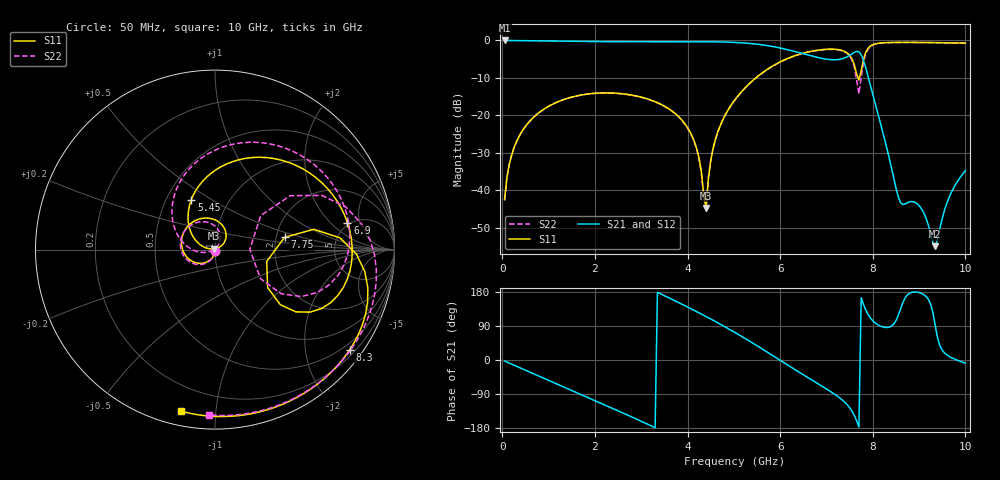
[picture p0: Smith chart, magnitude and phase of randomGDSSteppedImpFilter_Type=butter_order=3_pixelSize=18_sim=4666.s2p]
! freq	dB(S11)	phase(S11)	dB(S12)	phase(S12)
!  dB(S21)	phase(S21)	dB(S22)	phase(S22)
!S-par simulation data
#  GHz  S  DB  R 50
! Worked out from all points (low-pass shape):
!   200 points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, 50 MHz to 10 GHz, reference 50 ohm
!   highest |S21| = 0.00 dB at 50 MHz (marker M1); lowest = -54.9 dB at 9.35 GHz (marker M2)
!   |S21| within 3 dB of the highest: start of sweep to 6.332 GHz; 7.632 GHz to 7.692 GHz (60.5 MHz wide, 0.79 % of centre)
!   lowest |S11| = -44.7 dB at 4.4 GHz (marker M3), VSWR 1.01, Z = 49.6 + j0.443 ohm
!   |S11| at or under -10 dB: start of sweep to 5.474 GHz; 7.683335 GHz to 7.711756 GHz (28.42 MHz wide, 0.369 % of centre)
!   |S22| runs from -44.8 to -0.5 dB; largest |S21 - S12| = 0
!   S11 on the Smith chart (normalised r, x): 50 MHz: 1.00, -0.01; 5.45 GHz: 0.67, +0.41; 6.9 GHz: 4.74, +3.30; 7.75 GHz: 2.22, +0.36; 8.3 GHz: 0.33, -2.98; 10 GHz: 0.07, -0.81
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0.05  -42.51 -91.5  -0.00 -2.7  -0.00 -2.7  -42.51 -91.4
0.2  -30.66 -101.0  -0.02 -10.8  -0.02 -10.8  -30.66 -100.0
0.5  -22.93 -118.7  -0.06 -27.0  -0.06 -27.0  -22.93 -116.0
1.75  -14.47 170.4  -0.27 -93.6  -0.27 -93.6  -14.48 -179.5
3.4  -16.88 74.3  -0.33 175.6  -0.33 175.6  -16.94 96.1
4.1  -25.56 33.8  -0.32 133.7  -0.32 133.7  -25.70 59.3
4.4  -44.73 129.7  -0.34 114.8  -0.34 114.8  -44.80 162.8
4.6  -26.52 169.8  -0.37 101.7  -0.37 101.7  -26.50 -162.5
5.05  -15.40 143.3  -0.55 70.8  -0.55 70.8  -15.45 170.6
5.45  -10.25 115.5  -0.93 41.5  -0.93 41.5  -10.32 141.7
6.7  -2.82 25.2  -4.23 -54.0  -4.23 -54.0  -2.87 44.4
6.9  -2.46 11.5  -4.79 -68.8  -4.79 -68.8  -2.51 29.4
7.55  -4.91 -37.6  -3.58 -134.8  -3.58 -134.8  -5.22 -28.5
7.7  -10.58 -12.9  -3.02 -176.9  -3.02 -176.9  -14.25 0.6
7.75  -8.11 10.0  -3.81 164.5  -3.81 164.5  -9.95 36.7
7.95  -1.47 -8.4  -12.04 110.7  -12.04 110.7  -1.63 10.1
8.3  -0.58 -36.8  -28.57 85.7  -28.57 85.7  -0.61 -22.0
8.35  -0.56 -39.6  -31.10 86.5  -31.10 86.5  -0.59 -25.2
8.6  -0.52 -51.8  -43.28 135.0  -43.28 135.0  -0.53 -38.7
9  -0.54 -68.1  -44.09 178.0  -44.09 178.0  -0.54 -56.4
9.35  -0.58 -80.6  -54.89 90.1  -54.89 90.1  -0.58 -69.8
10  -0.72 -101.8  -34.75 -8.3  -34.75 -8.3  -0.71 -92.1
